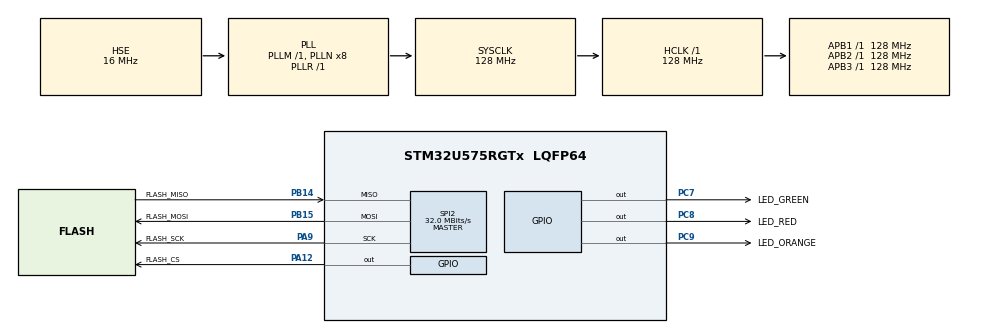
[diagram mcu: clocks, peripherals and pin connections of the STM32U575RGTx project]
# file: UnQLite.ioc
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CORTEX_M33_NS.userName=CORTEX_M33
Mcu.Family=STM32U5
Mcu.Name=STM32U575RGTx
Mcu.Package=LQFP64
NVIC.PriorityGroup=NVIC_PRIORITYGROUP_4
NVIC.TIM1_CC_IRQn=true\:0\:0\:false\:false\:true\:true\:true\:true
NVIC.TIM1_UP_IRQn=true\:0\:0\:false\:false\:true\:true\:true\:true
NVIC.TIM2_IRQn=true\:0\:0\:false\:false\:true\:true\:true\:true
PA12.GPIO_Label=FLASH_CS
PA12.Signal=GPIO_Output
PA13\ (JTMS/SWDIO).Mode=Serial_Wire
PA13\ (JTMS/SWDIO).Signal=DEBUG_JTMS-SWDIO
PA14\ (JTCK/SWCLK).Mode=Serial_Wire
PA14\ (JTCK/SWCLK).Signal=DEBUG_JTCK-SWCLK
PA9.GPIO_Label=FLASH_SCK
PA9.Mode=Full_Duplex_Master
PA9.Signal=SPI2_SCK
PB14.GPIO_Label=FLASH_MISO
PB14.Mode=Full_Duplex_Master
PB14.Signal=SPI2_MISO
PB15.GPIO_Label=FLASH_MOSI
PB15.Mode=Full_Duplex_Master
PB15.Signal=SPI2_MOSI
PC14-OSC32_IN\ (PC14).Mode=LSE-External-Oscillator
PC14-OSC32_IN\ (PC14).Signal=RCC_OSC32_IN
PC15-OSC32_OUT\ (PC15).Mode=LSE-External-Oscillator
PC15-OSC32_OUT\ (PC15).Signal=RCC_OSC32_OUT
PC7.GPIO_Label=LED_GREEN
PC7.Signal=GPIO_Output
PC8.GPIO_Label=LED_RED
PC8.Signal=GPIO_Output
PC9.GPIO_Label=LED_ORANGE
PC9.Signal=GPIO_Output
PH0-OSC_IN\ (PH0).Mode=HSE-External-Oscillator
PH0-OSC_IN\ (PH0).Signal=RCC_OSC_IN
PH1-OSC_OUT\ (PH1).Mode=HSE-External-Oscillator
PH1-OSC_OUT\ (PH1).Signal=RCC_OSC_OUT
ProjectManager.HeapSize=0x200
ProjectManager.StackSize=0x400
ProjectManager.TargetToolchain=STM32CubeIDE
RCC.ADCFreq_Value=16000000
RCC.AHBFreq_Value=128000000
RCC.APB1Freq_Value=128000000
RCC.APB1TimFreq_Value=128000000
RCC.APB2Freq_Value=128000000
RCC.APB2TimFreq_Value=128000000
RCC.APB3Freq_Value=128000000
RCC.CortexFreq_Value=128000000
RCC.EPOD_VALUE=16000000
RCC.HCLKFreq_Value=128000000
RCC.HSE_VALUE=16000000
RCC.HSI48_VALUE=48000000
RCC.HSI_VALUE=16000000
RCC.LSIDIV_VALUE=32000
RCC.MSIClockRange=RCC_MSIRANGE_0
RCC.MSI_VALUE=48000000
RCC.PLL1MBOOST=RCC_PLLMBOOST_DIV1
RCC.PLL1R=1
RCC.PLL2FRACN=0
RCC.PLL3FRACN=0
RCC.PLLFRACN=0
RCC.PLLN=8
RCC.PLLSourceVirtual=RCC_PLLSOURCE_HSE
RCC.RTCClockSelection=RCC_RTCCLKSOURCE_LSE
RCC.SYSCLKFreq_VALUE=128000000
RCC.SYSCLKSource=RCC_SYSCLKSOURCE_PLLCLK
RCC.USBFreq_Value=48000000
RCC.VCOOutputFreq_Value=128000000
SPI2.BaudRatePrescaler=SPI_BAUDRATEPRESCALER_4
SPI2.CalculateBaudRate=32.0 MBits/s
SPI2.DataSize=SPI_DATASIZE_8BIT
SPI2.Direction=SPI_DIRECTION_2LINES
SPI2.Mode=SPI_MODE_MASTER
SPI2.VirtualType=VM_MASTER
TIM1.Channel-Output\ Compare1\ No\ Output=TIM_CHANNEL_1
TIM1.PeriodNoDither=999
TIM1.Prescaler=12799
TIM2.Channel-Output\ Compare1\ No\ Output=TIM_CHANNEL_1
TIM2.PeriodNoDither=999
TIM2.Prescaler=12799
VP_ICACHE_VS_ICACHE.Mode=DefaultMode
VP_LPBAMQUEUE_VS_QUEUE.Mode=QUEUEMODE
VP_LPBAM_VS_SIG1.Mode=SmartRun
VP_LPBAM_VS_SIG4.Mode=LPDMA1
VP_MEMORYMAP_VS_MEMORYMAP.Mode=CurAppReg
VP_PWR_VS_SECSignals.Mode=Security/Privilege
VP_RTC_VS_RTC_Activate.Mode=RTC_Enabled
VP_RTC_VS_RTC_Calendar.Mode=RTC_Calendar
VP_TIM1_VS_ClockSourceINT.Mode=Internal
VP_TIM1_VS_no_output1.Mode=Output Compare1 No Output
VP_TIM2_VS_ClockSourceINT.Mode=Internal
VP_TIM2_VS_no_output1.Mode=Output Compare1 No Output
board=custom

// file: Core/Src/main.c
/* USER CODE BEGIN Header */
/**
  ******************************************************************************
  * @file           : main.c
  * @brief          : Main program body
  ******************************************************************************
  * @attention
  *
  * Copyright (c) 2023 STMicroelectronics.
  * All rights reserved.
  *
  * This software is licensed under terms that can be found in the LICENSE file
  * in the root directory of this software component.
  * If no LICENSE file comes with this software, it is provided AS-IS.
  *
  ******************************************************************************
  */
/* USER CODE END Header */
#include "main.h"

/* USER CODE BEGIN Includes */
#include "lib_mem.h"
#include "fs_app.h"
#include "unqlite.h"
#include <stdio.h>
#include <string.h>
#include <stdlib.h>
/* USER CODE END Includes */

RTC_HandleTypeDef hrtc;

SPI_HandleTypeDef hspi2;

TIM_HandleTypeDef htim1;
TIM_HandleTypeDef htim2;

void SystemClock_Config(void);
static void MX_GPIO_Init(void);
static void MX_RTC_Init(void);
static void MX_TIM1_Init(void);
static void MX_ICACHE_Init(void);
static void MX_TIM2_Init(void);
static void MX_SPI2_Init(void);
static void MX_MEMORYMAP_Init(void);

/* USER CODE BEGIN 0 */
int create_record(unqlite *pDb, const char *key, const char *value)
{
    int rc;
    rc = unqlite_kv_store(pDb, key, -1, value, strlen(value));
    if (rc != UNQLITE_OK)
    {
        fprintf(stderr, "Error creating record\n");
        return rc;
    }
    printf("Record created successfully.\n");
    return UNQLITE_OK;
}

int read_record(unqlite *pDb, const char *key)
{
    int rc;
    unqlite_int64 nBytes;
    rc = unqlite_kv_fetch(pDb, key, -1, NULL, &nBytes);
    if (rc == UNQLITE_OK)
    {
        char *value = malloc((size_t)nBytes);
        rc = unqlite_kv_fetch(pDb, key, -1, value, &nBytes);
        if (rc == UNQLITE_OK)
        {
            printf("Value for key '%s': %s\n", key, value);
        }
        else
        {
            fprintf(stderr, "Error reading record value\n");
        }
        free(value);
    }
    else
    {
        fprintf(stderr, "No record found for key '%s'\n", key);
    }
    return rc;
}

int update_record(unqlite *pDb, const char *key, const char *new_value)
{
    return create_record(pDb, key, new_value);
}

int delete_record(unqlite *pDb, const char *key)
{
    int rc = unqlite_kv_delete(pDb, key, -1);
    if (rc == UNQLITE_OK)
    {
        printf("Record deleted successfully.\n");
    }
    else
    {
        fprintf(stderr, "Error deleting record\n");
    }
    return rc;
}

int example_consumer(const void *pData, unsigned int nBytes, void *pUserData)
{
    printf("\r\nConsumer (Hex): ");

    for (unsigned int i = 0; i < nBytes; ++i) {
        printf("%02X ", ((const unsigned char *)pData)[i]);
    }

    printf("\r\nConsumer (String): %.*s\r\n", nBytes, (const char *)pData);
    return UNQLITE_OK;
}

int iterate(unqlite *pDb)
{
    unqlite_kv_cursor *pCursor;
    int rc;
    unqlite_int64 iData;

    rc = unqlite_kv_cursor_init(pDb, &pCursor);
    if (rc != UNQLITE_OK)
    {
        fprintf(stderr, "Error initializing cursor: %d\n", rc);
        return rc;
    }
    for (unqlite_kv_cursor_first_entry(pCursor); unqlite_kv_cursor_valid_entry(pCursor); unqlite_kv_cursor_next_entry(pCursor))
    {
        /* Consume the key */
        printf("================ SEPARATOR ================\r\n");
        printf("\r\nKey ==>");
        unqlite_kv_cursor_key_callback(pCursor, example_consumer, 0);

        /* Extract data length */
        unqlite_kv_cursor_data(pCursor, NULL, &iData);
        printf("\r\nData length ==>\r\n %lld", iData);

        /* Consume the data */
        printf("\r\nData Value ==>");
        unqlite_kv_cursor_data_callback(pCursor, example_consumer, 0);
    }
    unqlite_kv_cursor_release(pDb, pCursor);

    return rc;
}

int store_binary_data(unqlite *pDb, const char *key, const void *data, size_t dataSize)
{
    int rc = unqlite_kv_store(pDb, key, -1, data, dataSize);
    if (rc != UNQLITE_OK) {
        fprintf(stderr, "Error storing binary data: %d\n", rc);
        unqlite_close(pDb);
        return rc;
    }
    printf("Binary data stored successfully.\n");
    return UNQLITE_OK;
}
/* USER CODE END 0 */

int main(void)
{

  /* MCU Configuration--------------------------------------------------------*/

  /* Reset of all peripherals, Initializes the Flash interface and the Systick. */
  HAL_Init();

  /* Configure the system clock */
  SystemClock_Config();

  /* Initialize all configured peripherals */
  MX_GPIO_Init();
  MX_RTC_Init();
  MX_TIM1_Init();
  MX_ICACHE_Init();
  MX_TIM2_Init();
  MX_SPI2_Init();
  MX_MEMORYMAP_Init();
  /* USER CODE BEGIN 2 */
  HAL_GPIO_WritePin(GPIOC, LED_GREEN_Pin | LED_RED_Pin | LED_ORANGE_Pin,  GPIO_PIN_SET);
  HAL_TIM_Base_Start_IT(&htim1);  //Timer for RTT shell
  Mem_Init();		// Micrium memory module init. Required for the uc-FS.
  App_FS_Init();	// Micrium FS init. Loads device drivers and open the default volume. Will format the FS if not found.
  unqlite *pDb;
  int rc;
  const char *zBuf;
  int iLen;

  unsigned char binaryData[] = {0x01, 0x02, 0x03, 0x04, 0x05};
  size_t binaryDataSize = sizeof(binaryData);
  const char *key = "binary_key";

  // Open or create UnQLite database
  rc = unqlite_open(&pDb, "example.db", UNQLITE_OPEN_CREATE);
  if (rc != UNQLITE_OK)
  {
      fprintf(stderr, "Error opening or creating the database\n");
      return rc;
  }

  if (pDb == NULL)
  {
      fprintf(stderr, "Error: database pointer is null\n");
      return 1;
  }

  // Configure error handler
  unqlite_config(pDb, UNQLITE_CONFIG_ERR_LOG, &zBuf, &iLen);

  // Example CRUD usage
  create_record(pDb, "key1", "value1");
  create_record(pDb, "key2", "value2");
  create_record(pDb, "key3", "value3");
  create_record(pDb, "key4", "value4");
  create_record(pDb, "key5", "value5");
  create_record(pDb, "key6", "value6");
  create_record(pDb, "key7", "value7");
  create_record(pDb, "key8", "value8");
  create_record(pDb, "key9", "value9");
  create_record(pDb, "key10", "value10");
  read_record(pDb, "key1");
  update_record(pDb, "key1", "new_value");
  read_record(pDb, "key1");
  delete_record(pDb, "key1");
  read_record(pDb, "key1");

  //Put Binary data inside the database
  rc = store_binary_data(pDb, key, binaryData, binaryDataSize);
  if (rc != UNQLITE_OK) {
      return rc;
  }

  // Iterate over all records
  iterate(pDb);

  if (iLen > 0)
  {
      puts(zBuf);
  }

  // Close the database
  unqlite_close(pDb);
  /* USER CODE END 2 */

  /* Infinite loop */
  while (1)
  {

  }
}

void SystemClock_Config(void)
{
  RCC_OscInitTypeDef RCC_OscInitStruct = {0};
  RCC_ClkInitTypeDef RCC_ClkInitStruct = {0};

  /** Configure the main internal regulator output voltage
  */
  if (HAL_PWREx_ControlVoltageScaling(PWR_REGULATOR_VOLTAGE_SCALE1) != HAL_OK)
  {
    Error_Handler();
  }

  /** Configure LSE Drive Capability
  */
  HAL_PWR_EnableBkUpAccess();
  __HAL_RCC_LSEDRIVE_CONFIG(RCC_LSEDRIVE_LOW);

  /** Initializes the CPU, AHB and APB buses clocks
  */
  RCC_OscInitStruct.OscillatorType = RCC_OSCILLATORTYPE_HSE|RCC_OSCILLATORTYPE_LSE;
  RCC_OscInitStruct.HSEState = RCC_HSE_ON;
  RCC_OscInitStruct.LSEState = RCC_LSE_ON;
  RCC_OscInitStruct.PLL.PLLState = RCC_PLL_ON;
  RCC_OscInitStruct.PLL.PLLSource = RCC_PLLSOURCE_HSE;
  RCC_OscInitStruct.PLL.PLLMBOOST = RCC_PLLMBOOST_DIV1;
  RCC_OscInitStruct.PLL.PLLM = 1;
  RCC_OscInitStruct.PLL.PLLN = 8;
  RCC_OscInitStruct.PLL.PLLP = 2;
  RCC_OscInitStruct.PLL.PLLQ = 2;
  RCC_OscInitStruct.PLL.PLLR = 1;
  RCC_OscInitStruct.PLL.PLLRGE = RCC_PLLVCIRANGE_1;
  RCC_OscInitStruct.PLL.PLLFRACN = 0;
  if (HAL_RCC_OscConfig(&RCC_OscInitStruct) != HAL_OK)
  {
    Error_Handler();
  }

  /** Initializes the CPU, AHB and APB buses clocks
  */
  RCC_ClkInitStruct.ClockType = RCC_CLOCKTYPE_HCLK|RCC_CLOCKTYPE_SYSCLK
                              |RCC_CLOCKTYPE_PCLK1|RCC_CLOCKTYPE_PCLK2
                              |RCC_CLOCKTYPE_PCLK3;
  RCC_ClkInitStruct.SYSCLKSource = RCC_SYSCLKSOURCE_PLLCLK;
  RCC_ClkInitStruct.AHBCLKDivider = RCC_SYSCLK_DIV1;
  RCC_ClkInitStruct.APB1CLKDivider = RCC_HCLK_DIV1;
  RCC_ClkInitStruct.APB2CLKDivider = RCC_HCLK_DIV1;
  RCC_ClkInitStruct.APB3CLKDivider = RCC_HCLK_DIV1;

  if (HAL_RCC_ClockConfig(&RCC_ClkInitStruct, FLASH_LATENCY_3) != HAL_OK)
  {
    Error_Handler();
  }
}

static void MX_ICACHE_Init(void)
{

  /** Enable instruction cache (default 2-ways set associative cache)
  */
  if (HAL_ICACHE_Enable() != HAL_OK)
  {
    Error_Handler();
  }

}

static void MX_MEMORYMAP_Init(void)
{

}

static void MX_RTC_Init(void)
{

  RTC_PrivilegeStateTypeDef privilegeState = {0};
  RTC_TimeTypeDef sTime = {0};
  RTC_DateTypeDef sDate = {0};

  /** Initialize RTC Only
  */
  hrtc.Instance = RTC;
  hrtc.Init.HourFormat = RTC_HOURFORMAT_24;
  hrtc.Init.AsynchPrediv = 127;
  hrtc.Init.SynchPrediv = 255;
  hrtc.Init.OutPut = RTC_OUTPUT_DISABLE;
  hrtc.Init.OutPutRemap = RTC_OUTPUT_REMAP_NONE;
  hrtc.Init.OutPutPolarity = RTC_OUTPUT_POLARITY_HIGH;
  hrtc.Init.OutPutType = RTC_OUTPUT_TYPE_OPENDRAIN;
  hrtc.Init.OutPutPullUp = RTC_OUTPUT_PULLUP_NONE;
  hrtc.Init.BinMode = RTC_BINARY_NONE;
  if (HAL_RTC_Init(&hrtc) != HAL_OK)
  {
    Error_Handler();
  }
  privilegeState.rtcPrivilegeFull = RTC_PRIVILEGE_FULL_NO;
  privilegeState.backupRegisterPrivZone = RTC_PRIVILEGE_BKUP_ZONE_NONE;
  privilegeState.backupRegisterStartZone2 = RTC_BKP_DR0;
  privilegeState.backupRegisterStartZone3 = RTC_BKP_DR0;
  if (HAL_RTCEx_PrivilegeModeSet(&hrtc, &privilegeState) != HAL_OK)
  {
    Error_Handler();
  }

  /** Initialize RTC and set the Time and Date
  */
  sTime.Hours = 0x0;
  sTime.Minutes = 0x0;
  sTime.Seconds = 0x0;
  sTime.DayLightSaving = RTC_DAYLIGHTSAVING_NONE;
  sTime.StoreOperation = RTC_STOREOPERATION_RESET;
  if (HAL_RTC_SetTime(&hrtc, &sTime, RTC_FORMAT_BCD) != HAL_OK)
  {
    Error_Handler();
  }
  sDate.WeekDay = RTC_WEEKDAY_MONDAY;
  sDate.Month = RTC_MONTH_JANUARY;
  sDate.Date = 0x1;
  sDate.Year = 0x0;

  if (HAL_RTC_SetDate(&hrtc, &sDate, RTC_FORMAT_BCD) != HAL_OK)
  {
    Error_Handler();
  }

}

static void MX_SPI2_Init(void)
{

  SPI_AutonomousModeConfTypeDef HAL_SPI_AutonomousMode_Cfg_Struct = {0};

  /* SPI2 parameter configuration*/
  hspi2.Instance = SPI2;
  hspi2.Init.Mode = SPI_MODE_MASTER;
  hspi2.Init.Direction = SPI_DIRECTION_2LINES;
  hspi2.Init.DataSize = SPI_DATASIZE_8BIT;
  hspi2.Init.CLKPolarity = SPI_POLARITY_LOW;
  hspi2.Init.CLKPhase = SPI_PHASE_1EDGE;
  hspi2.Init.NSS = SPI_NSS_SOFT;
  hspi2.Init.BaudRatePrescaler = SPI_BAUDRATEPRESCALER_4;
  hspi2.Init.FirstBit = SPI_FIRSTBIT_MSB;
  hspi2.Init.TIMode = SPI_TIMODE_DISABLE;
  hspi2.Init.CRCCalculation = SPI_CRCCALCULATION_DISABLE;
  hspi2.Init.CRCPolynomial = 0x7;
  hspi2.Init.NSSPMode = SPI_NSS_PULSE_ENABLE;
  hspi2.Init.NSSPolarity = SPI_NSS_POLARITY_LOW;
  hspi2.Init.FifoThreshold = SPI_FIFO_THRESHOLD_01DATA;
  hspi2.Init.MasterSSIdleness = SPI_MASTER_SS_IDLENESS_00CYCLE;
  hspi2.Init.MasterInterDataIdleness = SPI_MASTER_INTERDATA_IDLENESS_00CYCLE;
  hspi2.Init.MasterReceiverAutoSusp = SPI_MASTER_RX_AUTOSUSP_DISABLE;
  hspi2.Init.MasterKeepIOState = SPI_MASTER_KEEP_IO_STATE_DISABLE;
  hspi2.Init.IOSwap = SPI_IO_SWAP_DISABLE;
  hspi2.Init.ReadyMasterManagement = SPI_RDY_MASTER_MANAGEMENT_INTERNALLY;
  hspi2.Init.ReadyPolarity = SPI_RDY_POLARITY_HIGH;
  if (HAL_SPI_Init(&hspi2) != HAL_OK)
  {
    Error_Handler();
  }
  HAL_SPI_AutonomousMode_Cfg_Struct.TriggerState = SPI_AUTO_MODE_DISABLE;
  HAL_SPI_AutonomousMode_Cfg_Struct.TriggerSelection = SPI_GRP1_GPDMA_CH0_TCF_TRG;
  HAL_SPI_AutonomousMode_Cfg_Struct.TriggerPolarity = SPI_TRIG_POLARITY_RISING;
  if (HAL_SPIEx_SetConfigAutonomousMode(&hspi2, &HAL_SPI_AutonomousMode_Cfg_Struct) != HAL_OK)
  {
    Error_Handler();
  }

}

static void MX_TIM1_Init(void)
{

  TIM_ClockConfigTypeDef sClockSourceConfig = {0};
  TIM_MasterConfigTypeDef sMasterConfig = {0};
  TIM_OC_InitTypeDef sConfigOC = {0};
  TIM_BreakDeadTimeConfigTypeDef sBreakDeadTimeConfig = {0};

  htim1.Instance = TIM1;
  htim1.Init.Prescaler = 12799;
  htim1.Init.CounterMode = TIM_COUNTERMODE_UP;
  htim1.Init.Period = 999;
  htim1.Init.ClockDivision = TIM_CLOCKDIVISION_DIV1;
  htim1.Init.RepetitionCounter = 0;
  htim1.Init.AutoReloadPreload = TIM_AUTORELOAD_PRELOAD_DISABLE;
  if (HAL_TIM_Base_Init(&htim1) != HAL_OK)
  {
    Error_Handler();
  }
  sClockSourceConfig.ClockSource = TIM_CLOCKSOURCE_INTERNAL;
  if (HAL_TIM_ConfigClockSource(&htim1, &sClockSourceConfig) != HAL_OK)
  {
    Error_Handler();
  }
  if (HAL_TIM_OC_Init(&htim1) != HAL_OK)
  {
    Error_Handler();
  }
  sMasterConfig.MasterOutputTrigger = TIM_TRGO_RESET;
  sMasterConfig.MasterOutputTrigger2 = TIM_TRGO2_RESET;
  sMasterConfig.MasterSlaveMode = TIM_MASTERSLAVEMODE_DISABLE;
  if (HAL_TIMEx_MasterConfigSynchronization(&htim1, &sMasterConfig) != HAL_OK)
  {
    Error_Handler();
  }
  sConfigOC.OCMode = TIM_OCMODE_TIMING;
  sConfigOC.Pulse = 0;
  sConfigOC.OCPolarity = TIM_OCPOLARITY_HIGH;
  sConfigOC.OCNPolarity = TIM_OCNPOLARITY_HIGH;
  sConfigOC.OCFastMode = TIM_OCFAST_DISABLE;
  sConfigOC.OCIdleState = TIM_OCIDLESTATE_RESET;
  sConfigOC.OCNIdleState = TIM_OCNIDLESTATE_RESET;
  if (HAL_TIM_OC_ConfigChannel(&htim1, &sConfigOC, TIM_CHANNEL_1) != HAL_OK)
  {
    Error_Handler();
  }
  sBreakDeadTimeConfig.OffStateRunMode = TIM_OSSR_DISABLE;
  sBreakDeadTimeConfig.OffStateIDLEMode = TIM_OSSI_DISABLE;
  sBreakDeadTimeConfig.LockLevel = TIM_LOCKLEVEL_OFF;
  sBreakDeadTimeConfig.DeadTime = 0;
  sBreakDeadTimeConfig.BreakState = TIM_BREAK_DISABLE;
  sBreakDeadTimeConfig.BreakPolarity = TIM_BREAKPOLARITY_HIGH;
  sBreakDeadTimeConfig.BreakFilter = 0;
  sBreakDeadTimeConfig.BreakAFMode = TIM_BREAK_AFMODE_INPUT;
  sBreakDeadTimeConfig.Break2State = TIM_BREAK2_DISABLE;
  sBreakDeadTimeConfig.Break2Polarity = TIM_BREAK2POLARITY_HIGH;
  sBreakDeadTimeConfig.Break2Filter = 0;
  sBreakDeadTimeConfig.Break2AFMode = TIM_BREAK_AFMODE_INPUT;
  sBreakDeadTimeConfig.AutomaticOutput = TIM_AUTOMATICOUTPUT_DISABLE;
  if (HAL_TIMEx_ConfigBreakDeadTime(&htim1, &sBreakDeadTimeConfig) != HAL_OK)
  {
    Error_Handler();
  }

}

static void MX_TIM2_Init(void)
{

  TIM_ClockConfigTypeDef sClockSourceConfig = {0};
  TIM_MasterConfigTypeDef sMasterConfig = {0};
  TIM_OC_InitTypeDef sConfigOC = {0};

  htim2.Instance = TIM2;
  htim2.Init.Prescaler = 12799;
  htim2.Init.CounterMode = TIM_COUNTERMODE_UP;
  htim2.Init.Period = 999;
  htim2.Init.ClockDivision = TIM_CLOCKDIVISION_DIV1;
  htim2.Init.AutoReloadPreload = TIM_AUTORELOAD_PRELOAD_DISABLE;
  if (HAL_TIM_Base_Init(&htim2) != HAL_OK)
  {
    Error_Handler();
  }
  sClockSourceConfig.ClockSource = TIM_CLOCKSOURCE_INTERNAL;
  if (HAL_TIM_ConfigClockSource(&htim2, &sClockSourceConfig) != HAL_OK)
  {
    Error_Handler();
  }
  if (HAL_TIM_OC_Init(&htim2) != HAL_OK)
  {
    Error_Handler();
  }
  sMasterConfig.MasterOutputTrigger = TIM_TRGO_RESET;
  sMasterConfig.MasterSlaveMode = TIM_MASTERSLAVEMODE_DISABLE;
  if (HAL_TIMEx_MasterConfigSynchronization(&htim2, &sMasterConfig) != HAL_OK)
  {
    Error_Handler();
  }
  sConfigOC.OCMode = TIM_OCMODE_TIMING;
  sConfigOC.Pulse = 0;
  sConfigOC.OCPolarity = TIM_OCPOLARITY_HIGH;
  sConfigOC.OCFastMode = TIM_OCFAST_DISABLE;
  if (HAL_TIM_OC_ConfigChannel(&htim2, &sConfigOC, TIM_CHANNEL_1) != HAL_OK)
  {
    Error_Handler();
  }

}

static void MX_GPIO_Init(void)
{
  GPIO_InitTypeDef GPIO_InitStruct = {0};

  /* GPIO Ports Clock Enable */
  __HAL_RCC_GPIOC_CLK_ENABLE();
  __HAL_RCC_GPIOH_CLK_ENABLE();
  __HAL_RCC_GPIOB_CLK_ENABLE();
  __HAL_RCC_GPIOA_CLK_ENABLE();

  /*Configure GPIO pin Output Level */
  HAL_GPIO_WritePin(GPIOC, LED_GREEN_Pin|LED_RED_Pin|LED_ORANGE_Pin, GPIO_PIN_RESET);

  /*Configure GPIO pin Output Level */
  HAL_GPIO_WritePin(FLASH_CS_GPIO_Port, FLASH_CS_Pin, GPIO_PIN_RESET);

  /*Configure GPIO pins : LED_GREEN_Pin LED_RED_Pin LED_ORANGE_Pin */
  GPIO_InitStruct.Pin = LED_GREEN_Pin|LED_RED_Pin|LED_ORANGE_Pin;
  GPIO_InitStruct.Mode = GPIO_MODE_OUTPUT_PP;
  GPIO_InitStruct.Pull = GPIO_NOPULL;
  GPIO_InitStruct.Speed = GPIO_SPEED_FREQ_LOW;
  HAL_GPIO_Init(GPIOC, &GPIO_InitStruct);

  /*Configure GPIO pin : FLASH_CS_Pin */
  GPIO_InitStruct.Pin = FLASH_CS_Pin;
  GPIO_InitStruct.Mode = GPIO_MODE_OUTPUT_PP;
  GPIO_InitStruct.Pull = GPIO_NOPULL;
  GPIO_InitStruct.Speed = GPIO_SPEED_FREQ_LOW;
  HAL_GPIO_Init(FLASH_CS_GPIO_Port, &GPIO_InitStruct);

}

void Error_Handler(void)
{
  __disable_irq();
  while (1)
  {
  }
}
